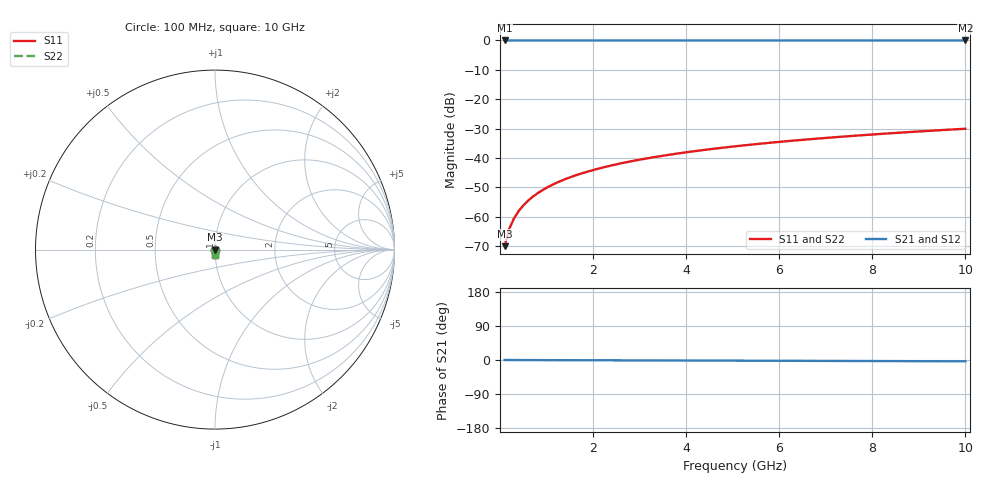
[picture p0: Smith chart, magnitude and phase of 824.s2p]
# Hz S RI R 50.00
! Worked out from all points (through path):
!   100 points, 100 MHz to 10 GHz, reference 50 ohm
!   highest |S21| = 0.00 dB at 100 MHz (marker M1); lowest = 0.0 dB at 10 GHz (marker M2)
!   lowest |S11| = -70.0 dB at 100 MHz (marker M3), VSWR 1.00, Z = 50 - j0.0312 ohm
!   |S11| at or under -10 dB: start of sweep to end of sweep
!   |S22| runs from -70.0 to -30.0 dB; largest |S21 - S12| = 0
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1e8  5.96e-05 -0.000312  0.9999 -0.000599  0.9999 -0.000599  5.96e-05 -0.000312
2e8  5.9e-05 -0.000625  0.9999 -0.0012  0.9999 -0.0012  5.9e-05 -0.000625
3e8  5.79e-05 -0.000937  0.9999 -0.0018  0.9999 -0.0018  5.79e-05 -0.000937
4e8  5.64e-05 -0.00125  0.9999 -0.0024  0.9999 -0.0024  5.64e-05 -0.00125
5e8  5.45e-05 -0.00156  0.9999 -0.003  0.9999 -0.003  5.45e-05 -0.00156
6e8  5.22e-05 -0.00187  0.9999 -0.0036  0.9999 -0.0036  5.22e-05 -0.00187
7e8  4.95e-05 -0.00219  0.9999 -0.0042  0.9999 -0.0042  4.95e-05 -0.00219
8e8  4.64e-05 -0.0025  0.9999 -0.0048  0.9999 -0.0048  4.64e-05 -0.0025
9e8  4.29e-05 -0.00281  0.9999 -0.00539  0.9999 -0.00539  4.29e-05 -0.00281
1.1e9  3.49e-05 -0.00344  0.9999 -0.00659  0.9999 -0.00659  3.49e-05 -0.00344
1.4e9  1.99e-05 -0.00437  0.9999 -0.00839  0.9999 -0.00839  1.99e-05 -0.00437
1.8e9  -5.46e-06 -0.00563  0.9999 -0.0108  0.9999 -0.0108  -5.46e-06 -0.00563
2.1e9  -2.84e-05 -0.00657  0.9998 -0.0126  0.9998 -0.0126  -2.84e-05 -0.00657
2.5e9  -6.44e-05 -0.00782  0.9998 -0.015  0.9998 -0.015  -6.44e-05 -0.00782
2.9e9  -0.000106 -0.00907  0.9997 -0.0174  0.9997 -0.0174  -0.000106 -0.00907
3.4e9  -0.000168 -0.0106  0.9997 -0.0204  0.9997 -0.0204  -0.000168 -0.0106
4.2e9  -0.000285 -0.0132  0.9995 -0.0252  0.9995 -0.0252  -0.000285 -0.0132
5.1e9  -0.000447 -0.016  0.9993 -0.0307  0.9993 -0.0307  -0.000447 -0.016
5.9e9  -0.000617 -0.0185  0.9991 -0.0355  0.9991 -0.0355  -0.000617 -0.0185
6.7e9  -0.000812 -0.021  0.9989 -0.0404  0.9989 -0.0404  -0.000812 -0.021
8.4e9  -0.00131 -0.0264  0.9983 -0.0507  0.9983 -0.0507  -0.00131 -0.0264
1e10  -0.00188 -0.0315  0.9976 -0.0604  0.9976 -0.0604  -0.00188 -0.0315
